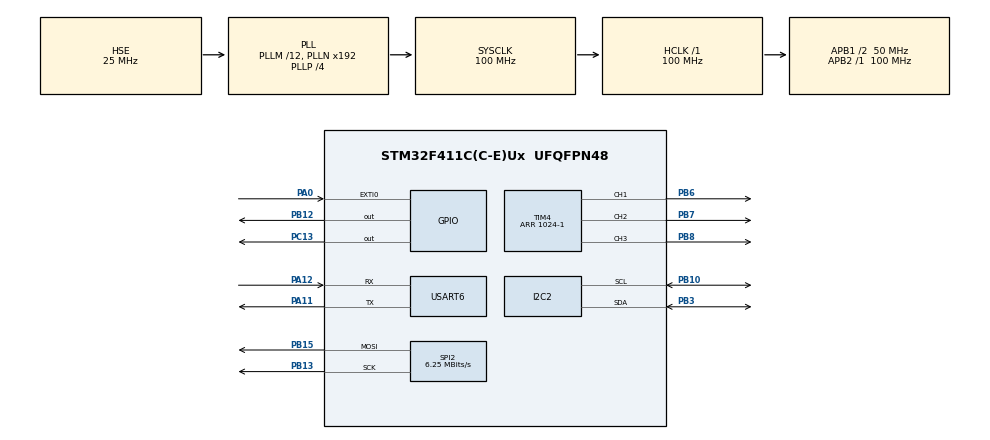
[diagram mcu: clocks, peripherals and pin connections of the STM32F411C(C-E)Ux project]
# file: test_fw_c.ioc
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Dma.I2C2_TX.0.Direction=DMA_MEMORY_TO_PERIPH
Dma.I2C2_TX.0.FIFOMode=DMA_FIFOMODE_DISABLE
Dma.I2C2_TX.0.Instance=DMA1_Stream7
Dma.I2C2_TX.0.MemDataAlignment=DMA_MDATAALIGN_BYTE
Dma.I2C2_TX.0.MemInc=DMA_MINC_ENABLE
Dma.I2C2_TX.0.Mode=DMA_NORMAL
Dma.I2C2_TX.0.PeriphDataAlignment=DMA_PDATAALIGN_BYTE
Dma.I2C2_TX.0.PeriphInc=DMA_PINC_DISABLE
Dma.I2C2_TX.0.Priority=DMA_PRIORITY_LOW
Dma.Request0=I2C2_TX
I2C2.I2C_Mode=I2C_Fast
Mcu.Family=STM32F4
Mcu.Name=STM32F411C(C-E)Ux
Mcu.Package=UFQFPN48
NVIC.DMA1_Stream7_IRQn=true\:0\:0\:false\:false\:true\:false\:true\:true
NVIC.EXTI0_IRQn=true\:0\:0\:false\:false\:true\:true\:true\:true
NVIC.I2C2_ER_IRQn=true\:0\:0\:false\:false\:true\:true\:true\:true
NVIC.I2C2_EV_IRQn=true\:0\:0\:false\:false\:true\:true\:true\:true
NVIC.PriorityGroup=NVIC_PRIORITYGROUP_4
NVIC.TIM1_UP_TIM10_IRQn=true\:0\:0\:false\:false\:true\:true\:true\:true
PA0-WKUP.GPIO_PuPd=GPIO_PULLUP
PA0-WKUP.Signal=GPXTI0
PA11.Mode=Asynchronous
PA11.Signal=USART6_TX
PA12.Mode=Asynchronous
PA12.Signal=USART6_RX
PB10.GPIO_Pu=GPIO_PULLUP
PB10.Mode=I2C
PB10.Signal=I2C2_SCL
PB12.GPIO_Speed=GPIO_SPEED_FREQ_VERY_HIGH
PB12.PinState=GPIO_PIN_SET
PB12.Signal=GPIO_Output
PB13.Mode=TX_Only_Simplex_Unidirect_Master
PB13.Signal=SPI2_SCK
PB15.Mode=TX_Only_Simplex_Unidirect_Master
PB15.Signal=SPI2_MOSI
PB3.GPIO_Pu=GPIO_PULLUP
PB3.Mode=I2C
PB3.Signal=I2C2_SDA
PB6.Signal=S_TIM4_CH1
PB7.Signal=S_TIM4_CH2
PB8.Signal=S_TIM4_CH3
PC13-ANTI_TAMP.PinState=GPIO_PIN_SET
PC13-ANTI_TAMP.Signal=GPIO_Output
PC14-OSC32_IN.Mode=LSE-External-Oscillator
PC14-OSC32_IN.Signal=RCC_OSC32_IN
PC15-OSC32_OUT.Mode=LSE-External-Oscillator
PC15-OSC32_OUT.Signal=RCC_OSC32_OUT
PH0\ -\ OSC_IN.Mode=HSE-External-Oscillator
PH0\ -\ OSC_IN.Signal=RCC_OSC_IN
PH1\ -\ OSC_OUT.Mode=HSE-External-Oscillator
PH1\ -\ OSC_OUT.Signal=RCC_OSC_OUT
ProjectManager.HeapSize=0x200
ProjectManager.StackSize=0x400
ProjectManager.TargetToolchain=STM32CubeIDE
RCC.48MHZClocksFreq_Value=100000000
RCC.AHBFreq_Value=100000000
RCC.APB1CLKDivider=RCC_HCLK_DIV2
RCC.APB1Freq_Value=50000000
RCC.APB1TimFreq_Value=100000000
RCC.APB2Freq_Value=100000000
RCC.APB2TimFreq_Value=100000000
RCC.CortexFreq_Value=100000000
RCC.HCLKFreq_Value=100000000
RCC.HSE_VALUE=25000000
RCC.HSI_VALUE=16000000
RCC.PLLM=12
RCC.PLLP=RCC_PLLP_DIV4
RCC.PLLSourceVirtual=RCC_PLLSOURCE_HSE
RCC.SYSCLKFreq_VALUE=100000000
RCC.SYSCLKSource=RCC_SYSCLKSOURCE_PLLCLK
RCC.VCOOutputFreq_Value=400000000
SH.S_TIM4_CH1.0=TIM4_CH1,PWM Generation1 CH1
SH.S_TIM4_CH2.0=TIM4_CH2,PWM Generation2 CH2
SH.S_TIM4_CH3.0=TIM4_CH3,PWM Generation3 CH3
SPI2.BaudRatePrescaler=SPI_BAUDRATEPRESCALER_8
SPI2.CalculateBaudRate=6.25 MBits/s
SPI2.Direction=SPI_DIRECTION_2LINES
SPI2.Mode=SPI_MODE_MASTER
SPI2.VirtualType=VM_MASTER
TIM10.Period=333-1
TIM10.Prescaler=1000-1
TIM4.Channel-PWM\ Generation1\ CH1=TIM_CHANNEL_1
TIM4.Channel-PWM\ Generation2\ CH2=TIM_CHANNEL_2
TIM4.Channel-PWM\ Generation3\ CH3=TIM_CHANNEL_3
TIM4.Period=1024-1
USART6.VirtualMode=VM_ASYNC
VP_TIM10_VS_ClockSourceINT.Mode=Enable_Timer
VP_TIM4_VS_ClockSourceINT.Mode=Internal
board=custom

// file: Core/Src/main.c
/* USER CODE BEGIN Header */
/**
  ******************************************************************************
  * @file           : main.c
  * @brief          : Main program body
  ******************************************************************************
  * @attention
  *
  * Copyright (c) 2024 STMicroelectronics.
  * All rights reserved.
  *
  * This software is licensed under terms that can be found in the LICENSE file
  * in the root directory of this software component.
  * If no LICENSE file comes with this software, it is provided AS-IS.
  *
  ******************************************************************************
  */
/* USER CODE END Header */
#include "main.h"
#include "dma.h"
#include "i2c.h"
#include "spi.h"
#include "tim.h"
#include "usart.h"
#include "gpio.h"

/* USER CODE BEGIN Includes */
#include <stdbool.h>
#include "max7219.h"
#include "oled128x32.h"
/* USER CODE END Includes */

/* USER CODE BEGIN PV */
static volatile bool should_toggle_display = false;
/* USER CODE END PV */

void SystemClock_Config(void);

/* USER CODE BEGIN 0 */
static void toggle_display()
{
  static bool display_on = true;
  display_on = !display_on;
  uint8_t data[] = {0x00, display_on ? 0xAF : 0xAE};
  HAL_I2C_Master_Transmit(&hi2c2, 0x3C << 1, data, sizeof(data), 1);
}
/* USER CODE END 0 */

int main(void)
{

  /* MCU Configuration--------------------------------------------------------*/

  /* Reset of all peripherals, Initializes the Flash interface and the Systick. */
  HAL_Init();

  /* Configure the system clock */
  SystemClock_Config();

  /* Initialize all configured peripherals */
  MX_GPIO_Init();
  MX_DMA_Init();
  MX_I2C2_Init();
  MX_TIM4_Init();
  MX_TIM10_Init();
  MX_SPI2_Init();
  MX_USART6_UART_Init();
  /* USER CODE BEGIN 2 */
  HAL_Delay(15);
  max7219_init();
  max7219_clear();
  oled128x32_init();
  oled128x32_clear();
  /* USER CODE END 2 */

  /* Infinite loop */
  /* USER CODE BEGIN WHILE */
  while (1)
  {
    for (int i = 0; i < 8; i++) {
      max7219_clear();
      max7219_set_row(i);
      HAL_Delay(150);
    }

    for (int i = 0; i < 8; i++) {
      max7219_clear();
      max7219_set_col(i);
      HAL_Delay(150);
    }
/*
    if (should_toggle_display) {
      toggle_display();
      should_toggle_display = false;
    }

    for (int i = 0; i < 32; i++) {
      oled128x32_clear();
      oled128x32_set_row(i);
      HAL_Delay(32);
    }

    for (int i = 0; i < 128; i++) {
      oled128x32_clear();
      oled128x32_set_col(i);
      HAL_Delay(8);
    }
*/
    /* USER CODE END WHILE */

  }
}

void SystemClock_Config(void)
{
  RCC_OscInitTypeDef RCC_OscInitStruct = {0};
  RCC_ClkInitTypeDef RCC_ClkInitStruct = {0};

  /** Configure the main internal regulator output voltage
  */
  __HAL_RCC_PWR_CLK_ENABLE();
  __HAL_PWR_VOLTAGESCALING_CONFIG(PWR_REGULATOR_VOLTAGE_SCALE1);

  /** Initializes the RCC Oscillators according to the specified parameters
  * in the RCC_OscInitTypeDef structure.
  */
  RCC_OscInitStruct.OscillatorType = RCC_OSCILLATORTYPE_HSE;
  RCC_OscInitStruct.HSEState = RCC_HSE_ON;
  RCC_OscInitStruct.PLL.PLLState = RCC_PLL_ON;
  RCC_OscInitStruct.PLL.PLLSource = RCC_PLLSOURCE_HSE;
  RCC_OscInitStruct.PLL.PLLM = 12;
  RCC_OscInitStruct.PLL.PLLN = 192;
  RCC_OscInitStruct.PLL.PLLP = RCC_PLLP_DIV4;
  RCC_OscInitStruct.PLL.PLLQ = 4;
  if (HAL_RCC_OscConfig(&RCC_OscInitStruct) != HAL_OK)
  {
    Error_Handler();
  }

  /** Initializes the CPU, AHB and APB buses clocks
  */
  RCC_ClkInitStruct.ClockType = RCC_CLOCKTYPE_HCLK|RCC_CLOCKTYPE_SYSCLK
                              |RCC_CLOCKTYPE_PCLK1|RCC_CLOCKTYPE_PCLK2;
  RCC_ClkInitStruct.SYSCLKSource = RCC_SYSCLKSOURCE_PLLCLK;
  RCC_ClkInitStruct.AHBCLKDivider = RCC_SYSCLK_DIV1;
  RCC_ClkInitStruct.APB1CLKDivider = RCC_HCLK_DIV2;
  RCC_ClkInitStruct.APB2CLKDivider = RCC_HCLK_DIV1;

  if (HAL_RCC_ClockConfig(&RCC_ClkInitStruct, FLASH_LATENCY_3) != HAL_OK)
  {
    Error_Handler();
  }
}

/* USER CODE BEGIN 4 */
void HAL_GPIO_EXTI_Callback(uint16_t GPIO_Pin)
{
  if (GPIO_Pin == GPIO_PIN_0) {
    should_toggle_display = true;
  }
}
/* USER CODE END 4 */

void Error_Handler(void)
{
  __disable_irq();
  while (1)
  {
  }
}
